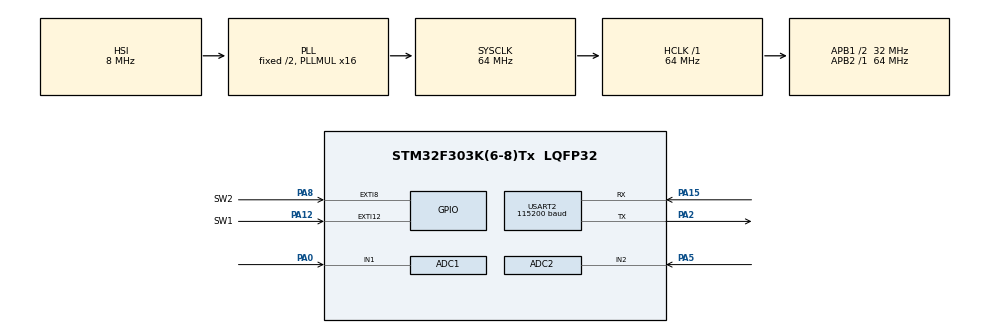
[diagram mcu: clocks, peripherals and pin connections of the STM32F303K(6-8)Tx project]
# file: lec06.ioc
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ADC1.Channel-0\#ChannelRegularConversion=ADC_CHANNEL_1
ADC1.NbrOfConversionFlag=1
ADC1.Offset-0\#ChannelRegularConversion=0
ADC1.OffsetNumber-0\#ChannelRegularConversion=ADC_OFFSET_NONE
ADC1.Rank-0\#ChannelRegularConversion=1
ADC1.SamplingTime-0\#ChannelRegularConversion=ADC_SAMPLETIME_1CYCLE_5
ADC1.SubFamily=STM32F303x8
ADC1.master=1
ADC2.Channel-2\#ChannelRegularConversion=ADC_CHANNEL_2
ADC2.NbrOfConversionFlag=1
ADC2.Offset-2\#ChannelRegularConversion=0
ADC2.OffsetNumber-2\#ChannelRegularConversion=ADC_OFFSET_NONE
ADC2.Rank-2\#ChannelRegularConversion=1
ADC2.SamplingTime-2\#ChannelRegularConversion=ADC_SAMPLETIME_1CYCLE_5
Dma.Request0=USART2_RX
Dma.USART2_RX.0.Direction=DMA_PERIPH_TO_MEMORY
Dma.USART2_RX.0.Instance=DMA1_Channel6
Dma.USART2_RX.0.MemDataAlignment=DMA_MDATAALIGN_BYTE
Dma.USART2_RX.0.MemInc=DMA_MINC_ENABLE
Dma.USART2_RX.0.Mode=DMA_CIRCULAR
Dma.USART2_RX.0.PeriphDataAlignment=DMA_PDATAALIGN_BYTE
Dma.USART2_RX.0.PeriphInc=DMA_PINC_DISABLE
Dma.USART2_RX.0.Priority=DMA_PRIORITY_LOW
Mcu.Family=STM32F3
Mcu.Name=STM32F303K(6-8)Tx
Mcu.Package=LQFP32
NVIC.DMA1_Channel6_IRQn=true\:0\:0\:false\:false\:true\:false\:true
NVIC.EXTI15_10_IRQn=true\:0\:0\:false\:false\:true\:true\:true
NVIC.EXTI9_5_IRQn=true\:0\:0\:false\:false\:true\:true\:true
NVIC.PriorityGroup=NVIC_PRIORITYGROUP_4
PA0.Mode=IN1-Single-Ended
PA0.Signal=ADC1_IN1
PA12.GPIO_Label=SW1
PA12.GPIO_ModeDefaultEXTI=GPIO_MODE_IT_FALLING
PA12.Signal=GPXTI12
PA15.Mode=Asynchronous
PA15.Signal=USART2_RX
PA2.Mode=Asynchronous
PA2.Signal=USART2_TX
PA5.Mode=IN2-Single-Ended
PA5.Signal=ADC2_IN2
PA8.GPIO_Label=SW2
PA8.GPIO_ModeDefaultEXTI=GPIO_MODE_IT_FALLING
PA8.Signal=GPXTI8
ProjectManager.HeapSize=0x200
ProjectManager.StackSize=0x400
ProjectManager.TargetToolchain=SW4STM32
RCC.AHBFreq_Value=64000000
RCC.APB1CLKDivider=RCC_HCLK_DIV2
RCC.APB1Freq_Value=32000000
RCC.APB1TimFreq_Value=64000000
RCC.APB2Freq_Value=64000000
RCC.APB2TimFreq_Value=64000000
RCC.CortexFreq_Value=64000000
RCC.HCLKFreq_Value=64000000
RCC.HSE_VALUE=8000000
RCC.HSI_VALUE=8000000
RCC.PLLMUL=RCC_PLL_MUL16
RCC.SYSCLKFreq_VALUE=64000000
RCC.SYSCLKSourceVirtual=RCC_SYSCLKSOURCE_PLLCLK
USART2.BaudRate=115200
USART2.VirtualMode-Asynchronous=VM_ASYNC
board=custom

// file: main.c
/* USER CODE BEGIN Header */
/**
 ******************************************************************************
 * @file           : main.c
 * @brief          : Main program body
 ******************************************************************************
 * @attention
 *
 * <h2><center>&copy; Copyright (c) 2020 STMicroelectronics.
 * All rights reserved.</center></h2>
 *
 * This software component is licensed by ST under BSD 3-Clause license,
 * the "License"; You may not use this file except in compliance with the
 * License. You may obtain a copy of the License at:
 *                        opensource.org/licenses/BSD-3-Clause
 *
 ******************************************************************************
 */
/* USER CODE END Header */

#include "main.h"

ADC_HandleTypeDef hadc1;
ADC_HandleTypeDef hadc2;

UART_HandleTypeDef huart2;
DMA_HandleTypeDef hdma_usart2_rx;

void SystemClock_Config(void);
static void MX_GPIO_Init(void);
static void MX_ADC1_Init(void);
static void MX_USART2_UART_Init(void);
static void MX_DMA_Init(void);
static void MX_ADC2_Init(void);

/* USER CODE BEGIN 0 */

#ifdef __GNUC__
#define PUTCHAR_PROTOTYPE int __io_putchar(int ch)
#else
#define PUTCHAR_PROTOTYPE int fputc(int ch, FILE *f)
#endif /* __GNUC__ */
void __io_putchar(uint8_t ch) {
	HAL_UART_Transmit(&huart2, &ch, 1, 1);
}

#define BUF_SIZE 128
uint8_t buf[BUF_SIZE] ;

void HAL_UART_RxCpltCallback(UART_HandleTypeDef *huart)
{
	HAL_UART_Transmit( &huart2 , buf , sizeof(buf) / 2 , 0xFFFF );
}

void HAL_UART_RxHalfCpltCallback(UART_HandleTypeDef *huart)
{
	HAL_UART_Transmit( &huart2 , buf + sizeof(buf) / 2 , sizeof(buf) / 2  , 0xFFFF );
}

/* USER CODE END 0 */

int main(void)
{

  /* MCU Configuration--------------------------------------------------------*/

  /* Reset of all peripherals, Initializes the Flash interface and the Systick. */
  HAL_Init();

  /* Configure the system clock */
  SystemClock_Config();

  /* Initialize all configured peripherals */
  MX_GPIO_Init();
  MX_DMA_Init();
  MX_ADC1_Init();
  MX_USART2_UART_Init();
  MX_ADC2_Init();
  /* USER CODE BEGIN 2 */
	HAL_UART_Receive_DMA( &huart2 , (uint8_t *)buf , sizeof(buf));
  /* USER CODE END 2 */

  /* Infinite loop */
	while (1)
	{

	}
}

void SystemClock_Config(void)
{
  RCC_OscInitTypeDef RCC_OscInitStruct = {0};
  RCC_ClkInitTypeDef RCC_ClkInitStruct = {0};
  RCC_PeriphCLKInitTypeDef PeriphClkInit = {0};

  /** Initializes the CPU, AHB and APB busses clocks
  */
  RCC_OscInitStruct.OscillatorType = RCC_OSCILLATORTYPE_HSI;
  RCC_OscInitStruct.HSIState = RCC_HSI_ON;
  RCC_OscInitStruct.HSICalibrationValue = RCC_HSICALIBRATION_DEFAULT;
  RCC_OscInitStruct.PLL.PLLState = RCC_PLL_ON;
  RCC_OscInitStruct.PLL.PLLSource = RCC_PLLSOURCE_HSI;
  RCC_OscInitStruct.PLL.PLLMUL = RCC_PLL_MUL16;
  if (HAL_RCC_OscConfig(&RCC_OscInitStruct) != HAL_OK)
  {
    Error_Handler();
  }
  /** Initializes the CPU, AHB and APB busses clocks
  */
  RCC_ClkInitStruct.ClockType = RCC_CLOCKTYPE_HCLK|RCC_CLOCKTYPE_SYSCLK
                              |RCC_CLOCKTYPE_PCLK1|RCC_CLOCKTYPE_PCLK2;
  RCC_ClkInitStruct.SYSCLKSource = RCC_SYSCLKSOURCE_PLLCLK;
  RCC_ClkInitStruct.AHBCLKDivider = RCC_SYSCLK_DIV1;
  RCC_ClkInitStruct.APB1CLKDivider = RCC_HCLK_DIV2;
  RCC_ClkInitStruct.APB2CLKDivider = RCC_HCLK_DIV1;

  if (HAL_RCC_ClockConfig(&RCC_ClkInitStruct, FLASH_LATENCY_2) != HAL_OK)
  {
    Error_Handler();
  }
  PeriphClkInit.PeriphClockSelection = RCC_PERIPHCLK_ADC12;
  PeriphClkInit.Adc12ClockSelection = RCC_ADC12PLLCLK_DIV1;
  if (HAL_RCCEx_PeriphCLKConfig(&PeriphClkInit) != HAL_OK)
  {
    Error_Handler();
  }
}

static void MX_ADC1_Init(void)
{

  ADC_MultiModeTypeDef multimode = {0};
  ADC_ChannelConfTypeDef sConfig = {0};

  /** Common config
  */
  hadc1.Instance = ADC1;
  hadc1.Init.ClockPrescaler = ADC_CLOCK_ASYNC_DIV1;
  hadc1.Init.Resolution = ADC_RESOLUTION_12B;
  hadc1.Init.ScanConvMode = ADC_SCAN_DISABLE;
  hadc1.Init.ContinuousConvMode = DISABLE;
  hadc1.Init.DiscontinuousConvMode = DISABLE;
  hadc1.Init.ExternalTrigConvEdge = ADC_EXTERNALTRIGCONVEDGE_NONE;
  hadc1.Init.ExternalTrigConv = ADC_SOFTWARE_START;
  hadc1.Init.DataAlign = ADC_DATAALIGN_RIGHT;
  hadc1.Init.NbrOfConversion = 1;
  hadc1.Init.DMAContinuousRequests = DISABLE;
  hadc1.Init.EOCSelection = ADC_EOC_SINGLE_CONV;
  hadc1.Init.LowPowerAutoWait = DISABLE;
  hadc1.Init.Overrun = ADC_OVR_DATA_OVERWRITTEN;
  if (HAL_ADC_Init(&hadc1) != HAL_OK)
  {
    Error_Handler();
  }
  /** Configure the ADC multi-mode
  */
  multimode.Mode = ADC_MODE_INDEPENDENT;
  if (HAL_ADCEx_MultiModeConfigChannel(&hadc1, &multimode) != HAL_OK)
  {
    Error_Handler();
  }
  /** Configure Regular Channel
  */
  sConfig.Channel = ADC_CHANNEL_1;
  sConfig.Rank = ADC_REGULAR_RANK_1;
  sConfig.SingleDiff = ADC_SINGLE_ENDED;
  sConfig.SamplingTime = ADC_SAMPLETIME_1CYCLE_5;
  sConfig.OffsetNumber = ADC_OFFSET_NONE;
  sConfig.Offset = 0;
  if (HAL_ADC_ConfigChannel(&hadc1, &sConfig) != HAL_OK)
  {
    Error_Handler();
  }

}

static void MX_ADC2_Init(void)
{

  ADC_ChannelConfTypeDef sConfig = {0};

  /** Common config
  */
  hadc2.Instance = ADC2;
  hadc2.Init.ClockPrescaler = ADC_CLOCK_ASYNC_DIV1;
  hadc2.Init.Resolution = ADC_RESOLUTION_12B;
  hadc2.Init.ScanConvMode = ADC_SCAN_DISABLE;
  hadc2.Init.ContinuousConvMode = DISABLE;
  hadc2.Init.DiscontinuousConvMode = DISABLE;
  hadc2.Init.ExternalTrigConvEdge = ADC_EXTERNALTRIGCONVEDGE_NONE;
  hadc2.Init.ExternalTrigConv = ADC_SOFTWARE_START;
  hadc2.Init.DataAlign = ADC_DATAALIGN_RIGHT;
  hadc2.Init.NbrOfConversion = 1;
  hadc2.Init.DMAContinuousRequests = DISABLE;
  hadc2.Init.EOCSelection = ADC_EOC_SINGLE_CONV;
  hadc2.Init.LowPowerAutoWait = DISABLE;
  hadc2.Init.Overrun = ADC_OVR_DATA_OVERWRITTEN;
  if (HAL_ADC_Init(&hadc2) != HAL_OK)
  {
    Error_Handler();
  }
  /** Configure Regular Channel
  */
  sConfig.Channel = ADC_CHANNEL_2;
  sConfig.Rank = ADC_REGULAR_RANK_1;
  sConfig.SingleDiff = ADC_SINGLE_ENDED;
  sConfig.SamplingTime = ADC_SAMPLETIME_1CYCLE_5;
  sConfig.OffsetNumber = ADC_OFFSET_NONE;
  sConfig.Offset = 0;
  if (HAL_ADC_ConfigChannel(&hadc2, &sConfig) != HAL_OK)
  {
    Error_Handler();
  }

}

static void MX_USART2_UART_Init(void)
{

  huart2.Instance = USART2;
  huart2.Init.BaudRate = 115200;
  huart2.Init.WordLength = UART_WORDLENGTH_8B;
  huart2.Init.StopBits = UART_STOPBITS_1;
  huart2.Init.Parity = UART_PARITY_NONE;
  huart2.Init.Mode = UART_MODE_TX_RX;
  huart2.Init.HwFlowCtl = UART_HWCONTROL_NONE;
  huart2.Init.OverSampling = UART_OVERSAMPLING_16;
  huart2.Init.OneBitSampling = UART_ONE_BIT_SAMPLE_DISABLE;
  huart2.AdvancedInit.AdvFeatureInit = UART_ADVFEATURE_NO_INIT;
  if (HAL_UART_Init(&huart2) != HAL_OK)
  {
    Error_Handler();
  }

}

static void MX_DMA_Init(void)
{

  /* DMA controller clock enable */
  __HAL_RCC_DMA1_CLK_ENABLE();

  /* DMA interrupt init */
  /* DMA1_Channel6_IRQn interrupt configuration */
  HAL_NVIC_SetPriority(DMA1_Channel6_IRQn, 0, 0);
  HAL_NVIC_EnableIRQ(DMA1_Channel6_IRQn);

}

static void MX_GPIO_Init(void)
{
  GPIO_InitTypeDef GPIO_InitStruct = {0};

  /* GPIO Ports Clock Enable */
  __HAL_RCC_GPIOA_CLK_ENABLE();

  /*Configure GPIO pins : SW2_Pin SW1_Pin */
  GPIO_InitStruct.Pin = SW2_Pin|SW1_Pin;
  GPIO_InitStruct.Mode = GPIO_MODE_IT_FALLING;
  GPIO_InitStruct.Pull = GPIO_NOPULL;
  HAL_GPIO_Init(GPIOA, &GPIO_InitStruct);

  /* EXTI interrupt init*/
  HAL_NVIC_SetPriority(EXTI9_5_IRQn, 0, 0);
  HAL_NVIC_EnableIRQ(EXTI9_5_IRQn);

  HAL_NVIC_SetPriority(EXTI15_10_IRQn, 0, 0);
  HAL_NVIC_EnableIRQ(EXTI15_10_IRQn);

}

void Error_Handler(void)
{
  /* USER CODE BEGIN Error_Handler_Debug */
	/* User can add his own implementation to report the HAL error return state */
	printf("error!\n\r");
  /* USER CODE END Error_Handler_Debug */
}

/************************ (C) COPYRIGHT STMicroelectronics *****END OF FILE****/
